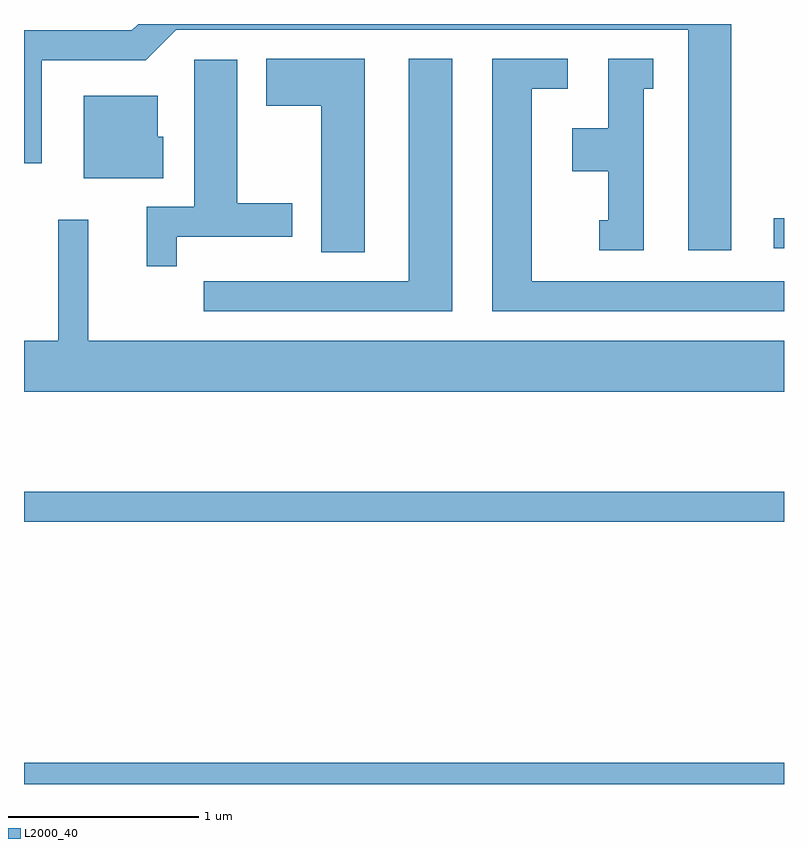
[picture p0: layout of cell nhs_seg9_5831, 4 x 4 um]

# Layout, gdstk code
import gdstk
lib = gdstk.Library(unit=1e-6, precision=1e-09)
def R(c, l, rs):  # rectangles x0, y0, x1, y1
    for r in rs: c.add(gdstk.rectangle(r[:2], r[2:], *l))
def P(c, l, *ps):  # polygons
    for p in ps: c.add(gdstk.Polygon(p, *l))
L2000_40 = (2000, 40)

nhs_seg9_5831 = lib.new_cell('nhs_seg9_5831')
R(nhs_seg9_5831, L2000_40, [(357.611,1976.432,361.611,1976.544), (357.611,1977.811,361.611,1977.969), (361.558,1979.251,361.611,1979.409)])
P(nhs_seg9_5831, L2000_40, [(361.334,1980.432),(358.212,1980.432),(358.179,1980.399),(357.611,1980.399),(357.611,1979.698),(357.704,1979.698),(357.704,1980.241),(358.252,1980.241),(358.412,1980.401),(361.106,1980.401),(361.106,1979.241),(361.334,1979.241)],
  [(361.611,1979.079),(360.284,1979.079),(360.284,1980.091),(360.473,1980.091),(360.473,1980.249),(360.076,1980.249),(360.076,1978.921),(361.611,1978.921)],
  [(359.864,1980.249),(359.636,1980.249),(359.636,1979.079),(358.558,1979.079),(358.558,1978.921),(359.864,1978.921)],
  [(360.874,1980.091),(360.923,1980.091),(360.923,1980.249),(360.686,1980.249),(360.686,1979.884),(360.496,1979.884),(360.496,1979.656),(360.686,1979.656),(360.686,1979.399),(360.638,1979.399),(360.638,1979.241),(360.874,1979.241)],
  [(359.404,1980.249),(358.886,1980.249),(358.886,1980.001),(359.176,1980.001),(359.176,1979.231),(359.404,1979.231)],
  [(358.414,1979.311),(359.024,1979.311),(359.024,1979.489),(358.734,1979.489),(358.734,1980.244),(358.506,1980.244),(358.506,1979.469),(358.256,1979.469),(358.256,1979.158),(358.414,1979.158)],
  [(358.344,1979.839),(358.314,1979.839),(358.314,1980.054),(357.926,1980.054),(357.926,1979.621),(358.344,1979.621)],
  [(361.611,1978.764),(357.949,1978.764),(357.949,1979.403),(357.791,1979.403),(357.791,1978.764),(357.611,1978.764),(357.611,1978.496),(361.611,1978.496)])

lib.write_gds('nhs_seg9_5831.gds')
